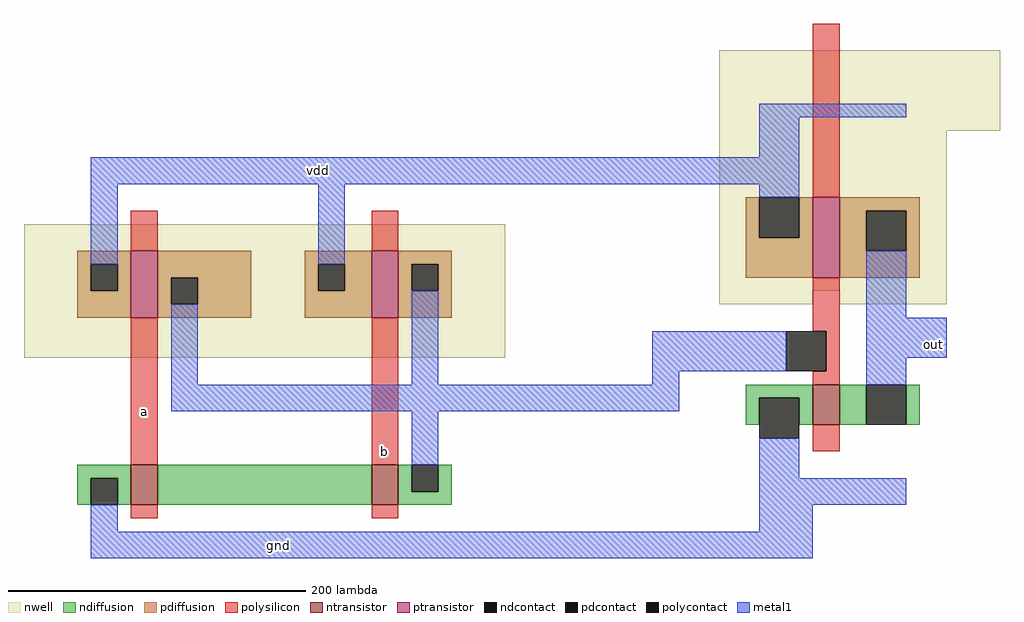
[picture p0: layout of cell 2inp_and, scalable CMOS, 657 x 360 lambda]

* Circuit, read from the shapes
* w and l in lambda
.subckt 2inp_and a b gnd out vdd
M1 n1 a gnd VSUBS nfet w=27 l=18
M2 n2 b n1 VSUBS nfet w=27 l=18
M3 out n2 gnd VSUBS nfet w=27 l=18
M4 n2 a vdd n3 pfet w=45 l=18
M5 n2 b vdd n3 pfet w=45 l=18
M6 out n2 vdd n4 pfet w=54 l=18
.ends

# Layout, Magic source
magic
tech scmos
magscale 9 1
<< nwell >>
rect 34 17 55 23
rect -18 0 18 10
rect 34 5 51 17
rect 34 4 41 5
rect 43 4 51 5
<< ntransistor >>
rect 41 -5 43 -2
rect -10 -11 -8 -8
rect 8 -11 10 -8
<< ptransistor >>
rect -10 3 -8 8
rect 8 3 10 8
rect 41 6 43 12
<< ndiffusion >>
rect 36 -3 41 -2
rect 36 -5 37 -3
rect 40 -5 41 -3
rect 43 -5 45 -2
rect 48 -5 49 -2
rect -14 -9 -10 -8
rect -14 -11 -13 -9
rect -11 -11 -10 -9
rect -8 -11 8 -8
rect 10 -10 11 -8
rect 13 -10 14 -8
rect 10 -11 14 -10
<< pdiffusion >>
rect 36 9 37 12
rect 40 9 41 12
rect -14 7 -10 8
rect -14 5 -13 7
rect -11 5 -10 7
rect -14 3 -10 5
rect -8 6 -1 8
rect -8 4 -7 6
rect -5 4 -1 6
rect -8 3 -1 4
rect 3 7 8 8
rect 3 5 4 7
rect 6 5 8 7
rect 3 3 8 5
rect 10 7 14 8
rect 10 5 11 7
rect 13 5 14 7
rect 36 6 41 9
rect 43 11 49 12
rect 43 8 45 11
rect 48 8 49 11
rect 43 6 49 8
rect 10 3 14 5
<< ndcontact >>
rect 37 -6 40 -3
rect 45 -5 48 -2
rect -13 -11 -11 -9
rect 11 -10 13 -8
<< pdcontact >>
rect 37 9 40 12
rect -13 5 -11 7
rect -7 4 -5 6
rect 4 5 6 7
rect 11 5 13 7
rect 45 8 48 11
<< polysilicon >>
rect 41 12 43 25
rect -10 8 -8 11
rect 8 8 10 11
rect -10 -8 -8 3
rect 8 -8 10 3
rect 41 2 43 6
rect 42 -1 43 2
rect 41 -2 43 -1
rect 41 -7 43 -5
rect -10 -12 -8 -11
rect 8 -12 10 -11
<< polycontact >>
rect 39 -1 42 2
<< metal1 >>
rect 37 18 48 19
rect 37 15 40 18
rect -13 13 40 15
rect -13 7 -11 13
rect 4 7 6 13
rect 37 12 40 13
rect -7 -2 -5 4
rect 11 -2 13 5
rect 45 3 48 8
rect 29 -1 39 2
rect 45 0 51 3
rect 29 -2 31 -1
rect -7 -4 31 -2
rect 45 -2 48 0
rect 11 -8 13 -4
rect 37 -9 40 -6
rect -13 -13 -11 -11
rect 37 -11 48 -9
rect 37 -13 41 -11
rect -13 -15 41 -13
<< labels >>
rlabel metal1 1 -14 1 -14 1 gnd
rlabel metal1 4 14 4 14 1 vdd
rlabel polysilicon -9 -4 -9 -4 1 a
rlabel polysilicon 9 -7 9 -7 1 b
rlabel metal1 50 1 50 1 7 out
<< end >>
